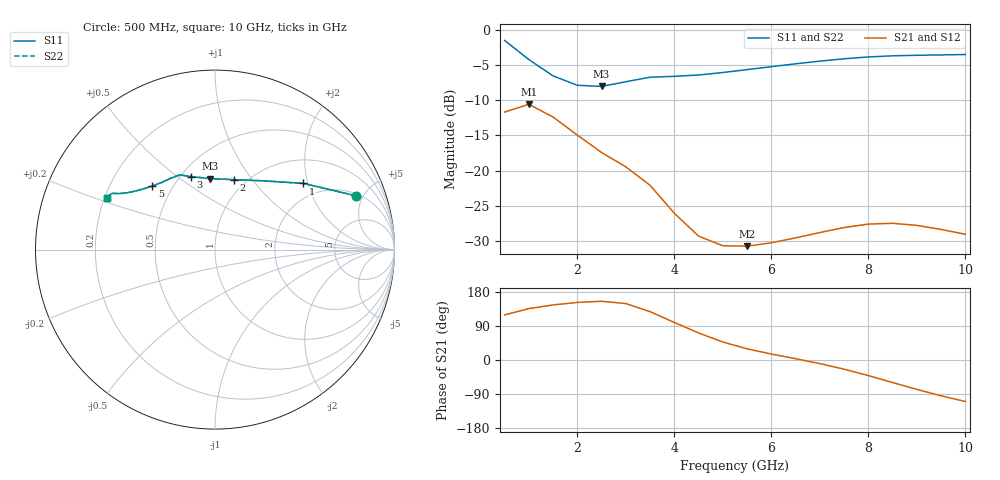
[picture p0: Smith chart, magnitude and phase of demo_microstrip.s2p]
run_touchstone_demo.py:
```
"""端到端示例：ε=1 微带线 MoM 扫频 → Touchstone .s2p 输出。

展示完整管线：
  1. 配置微带线几何（长度、宽度、介质）。
  2. 扫频（0.5–10 GHz）逐点 MoM 求解。
  3. Schur 2-端口提取 S 参数。
  4. 写入 Touchstone .s2p（RI 格式）。
  5. 读回验证（round-trip）。
"""
import numpy as np

import mom


def main():
    # ε=1 微带线（自由空间等效，验证物理正确）
    ms = mom.Microstrip(
        length=20e-3,      # 20 mm
        width=3e-3,        # 3 mm
        height=1.6e-3,     # 1.6 mm
        eps_eff=1.0,       # 有效介电常数
        nx=40,             # x 方向分段
        gauss=4,           # Gauss 积分阶
        z0_ref=50.0,       # 端口参考阻抗
    )

    # 扫频
    freqs = np.linspace(0.5e9, 10e9, 20)
    print(f"微带线: L={ms.length*1e3}mm W={ms.width*1e3}mm h={ms.height*1e3}mm")
    print(f"扫频: {freqs[0]/1e9:.1f}–{freqs[-1]/1e9:.1f} GHz, {len(freqs)} 点")
    print()

    # 写 Touchstone
    path = ms.to_touchstone(
        "demo_microstrip.s2p", freqs,
        freq_unit="GHz", fmt="RI",
        comments=["eps=1 microstrip MoM demo", "Schur 2-port S-param extraction"],
    )
    print(f"Touchstone 写入: {path}")

    # 读回验证
    fr, S, z0 = mom.read_touchstone(path)
    print(f"读回: {len(fr)} 频点, z0={z0}Ω, S shape={S.shape}")

    # 互易性 & 能量守恒
    recip = np.max(np.abs(S[:, 0, 1] - S[:, 1, 0]))
    conserve = np.abs(S[:, 0, 0])**2 + np.abs(S[:, 1, 0])**2
    print(f"\n验证:")
    print(f"  互易性 |S12-S21| max = {recip:.2e}（应≈0）")
    print(f"  能量守恒 |S11|²+|S21|² 范围 = {conserve.min():.3f}–{conserve.max():.3f}")
    print(f"    （<1 因 ε=1 微带辐射损耗，物理正确）")

    # 关键频点
    print(f"\n关键频点:")
    print(f"  {'f(GHz)':>7} {'|S11|':>7} {'|S21|':>7} {'守恒':>6}")
    for idx in [0, len(fr)//2, -1]:
        f = fr[idx] if idx >= 0 else fr[-1]
        s11 = abs(S[idx, 0, 0]); s21 = abs(S[idx, 1, 0])
        print(f"  {f/1e9:7.2f} {s11:7.3f} {s21:7.3f} {s11**2+s21**2:6.3f}")


if __name__ == "__main__":
    main()
```
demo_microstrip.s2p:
! eps=1 microstrip MoM demo
! Schur 2-port S-param extraction
! Microstrip: L=20.00mm W=3.00mm h=1.60mm eps_eff=1.000
! nx=40 gauss=4 z0_ref=50.0ohm
! Created by mom Touchstone writer
# GHz S RI R 50.0
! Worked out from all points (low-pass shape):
!   20 points, 500 MHz to 10 GHz, reference 50 ohm
!   highest |S21| = -10.58 dB at 1 GHz (marker M1); lowest = -30.7 dB at 5.5 GHz (marker M2)
!   |S21| within 3 dB of the highest: start of sweep to 1.732 GHz
!   lowest |S11| = -8.0 dB at 2.5 GHz (marker M3), VSWR 2.31, Z = 34.7 + j32.6 ohm
!   |S11| at or under -10 dB: nowhere
!   |S22| runs from -8.0 to -1.5 dB; largest |S21 - S12| = 0
!   S11 on the Smith chart (normalised r, x): 500 MHz: 2.16, +4.40; 1 GHz: 1.58, +1.87; 2 GHz: 0.88, +0.82; 3 GHz: 0.56, +0.56; 5 GHz: 0.39, +0.36; 10 GHz: 0.21, +0.22
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0.5  0.7847 0.3001  -0.1265 0.2279  -0.1265 0.2279  0.7847 0.3001
1  0.4922 0.3688  -0.2114 0.207  -0.2114 0.207  0.4922 0.3688
2  0.1059 0.3897  -0.1578 0.0841  -0.1578 0.0841  0.1059 0.3897
2.5  -0.0282 0.3954  -0.1219 0.0569  -0.1219 0.0569  -0.0282 0.3954
3  -0.1329 0.4069  -0.0912 0.0549  -0.0912 0.0549  -0.1329 0.4069
3.5  -0.1975 0.4162  -0.048 0.0624  -0.048 0.0624  -0.1975 0.4162
4.5  -0.2974 0.3738  0.011 0.0325  0.011 0.0325  -0.2974 0.3738
5  -0.3492 0.3543  0.0198 0.0216  0.0198 0.0216  -0.3492 0.3543
5.5  -0.3963 0.3392  0.0253 0.0143  0.0253 0.0143  -0.3963 0.3392
8  -0.56 0.3132  0.0315 -0.0275  0.0315 -0.0275  -0.56 0.3132
10  -0.6027 0.2876  -0.0118 -0.0333  -0.0118 -0.0333  -0.6027 0.2876
